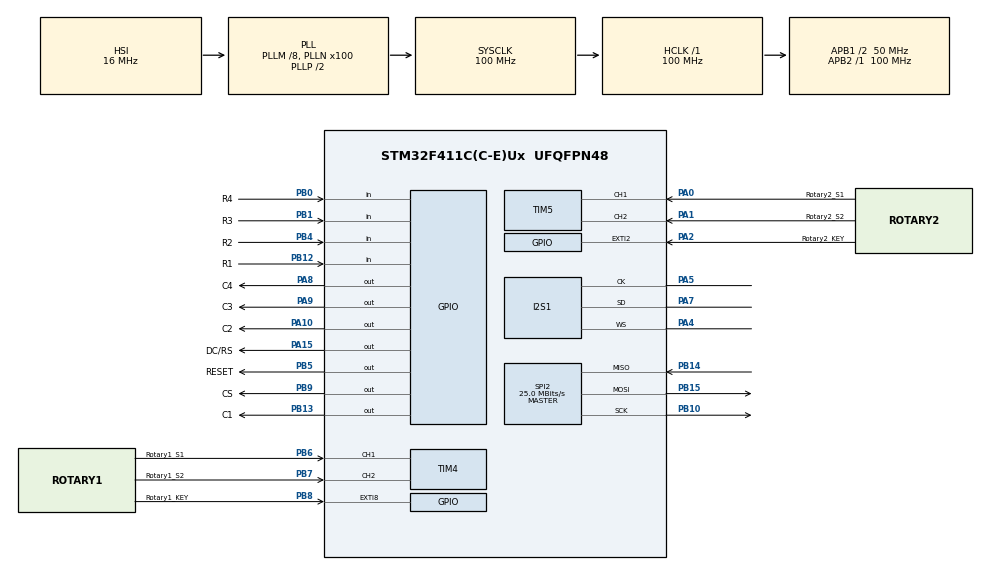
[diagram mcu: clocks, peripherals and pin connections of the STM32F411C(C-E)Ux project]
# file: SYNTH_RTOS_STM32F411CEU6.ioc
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Dma.Request0=SPI1_TX
Dma.Request1=SPI2_TX
Dma.Request2=SPI2_RX
Dma.SPI1_TX.0.Direction=DMA_MEMORY_TO_PERIPH
Dma.SPI1_TX.0.FIFOMode=DMA_FIFOMODE_DISABLE
Dma.SPI1_TX.0.Instance=DMA2_Stream2
Dma.SPI1_TX.0.MemDataAlignment=DMA_MDATAALIGN_HALFWORD
Dma.SPI1_TX.0.MemInc=DMA_MINC_ENABLE
Dma.SPI1_TX.0.Mode=DMA_CIRCULAR
Dma.SPI1_TX.0.PeriphDataAlignment=DMA_PDATAALIGN_HALFWORD
Dma.SPI1_TX.0.PeriphInc=DMA_PINC_DISABLE
Dma.SPI1_TX.0.Priority=DMA_PRIORITY_LOW
Dma.SPI2_RX.2.Direction=DMA_PERIPH_TO_MEMORY
Dma.SPI2_RX.2.FIFOMode=DMA_FIFOMODE_DISABLE
Dma.SPI2_RX.2.Instance=DMA1_Stream3
Dma.SPI2_RX.2.MemDataAlignment=DMA_MDATAALIGN_BYTE
Dma.SPI2_RX.2.MemInc=DMA_MINC_ENABLE
Dma.SPI2_RX.2.Mode=DMA_NORMAL
Dma.SPI2_RX.2.PeriphDataAlignment=DMA_PDATAALIGN_BYTE
Dma.SPI2_RX.2.PeriphInc=DMA_PINC_DISABLE
Dma.SPI2_RX.2.Priority=DMA_PRIORITY_LOW
Dma.SPI2_TX.1.Direction=DMA_MEMORY_TO_PERIPH
Dma.SPI2_TX.1.FIFOMode=DMA_FIFOMODE_DISABLE
Dma.SPI2_TX.1.Instance=DMA1_Stream4
Dma.SPI2_TX.1.MemDataAlignment=DMA_MDATAALIGN_BYTE
Dma.SPI2_TX.1.MemInc=DMA_MINC_ENABLE
Dma.SPI2_TX.1.Mode=DMA_NORMAL
Dma.SPI2_TX.1.PeriphDataAlignment=DMA_PDATAALIGN_BYTE
Dma.SPI2_TX.1.PeriphInc=DMA_PINC_DISABLE
Dma.SPI2_TX.1.Priority=DMA_PRIORITY_LOW
FREERTOS.Tasks01=defaultTask,24,128,StartDefaultTask,Default,NULL,Dynamic,NULL,NULL
FREERTOS.configENABLE_FPU=1
FREERTOS.configUSE_NEWLIB_REENTRANT=1
I2S1.AudioFreq=I2S_AUDIOFREQ_44K
I2S1.ErrorAudioFreq=0.26 %
I2S1.FullDuplexMode=I2S_FULLDUPLEXMODE_DISABLE
I2S1.Instance=SPI$Index
I2S1.RealAudioFreq=44.117 KHz
I2S1.VirtualMode=I2S_MODE_MASTER
Mcu.Family=STM32F4
Mcu.Name=STM32F411C(C-E)Ux
Mcu.Package=UFQFPN48
NVIC.DMA1_Stream3_IRQn=true\:5\:0\:false\:false\:true\:true\:false\:true\:true
NVIC.DMA1_Stream4_IRQn=true\:5\:0\:false\:false\:true\:true\:false\:true\:true
NVIC.DMA2_Stream2_IRQn=true\:5\:0\:false\:false\:true\:true\:false\:true\:true
NVIC.EXTI2_IRQn=true\:5\:0\:false\:false\:true\:true\:true\:true\:true
NVIC.EXTI9_5_IRQn=true\:5\:0\:false\:false\:true\:true\:true\:true\:true
NVIC.PriorityGroup=NVIC_PRIORITYGROUP_4
NVIC.SPI1_IRQn=true\:5\:0\:false\:false\:true\:true\:true\:true\:true
NVIC.TIM1_UP_TIM10_IRQn=true\:15\:0\:false\:false\:true\:false\:false\:true\:true
NVIC.TimeBase=TIM1_UP_TIM10_IRQn
NVIC.TimeBaseIP=TIM1
PA0-WKUP.GPIO_Label=Rotary2_S1
PA0-WKUP.Signal=S_TIM5_CH1
PA1.GPIO_Label=Rotary2_S2
PA1.Signal=S_TIM5_CH2
PA10.GPIO_Label=C2
PA10.GPIO_ModeDefaultOutputPP=GPIO_MODE_OUTPUT_OD
PA10.GPIO_PuPd=GPIO_NOPULL
PA10.PinState=GPIO_PIN_SET
PA10.Signal=GPIO_Output
PA13.Mode=Serial_Wire
PA13.Signal=SYS_JTMS-SWDIO
PA14.Mode=Serial_Wire
PA14.Signal=SYS_JTCK-SWCLK
PA15.GPIO_Label=DC/RS
PA15.Signal=GPIO_Output
PA2.GPIO_Label=Rotary2_KEY
PA2.Signal=GPXTI2
PA4.Mode=Half_Duplex_Master
PA4.Signal=I2S1_WS
PA5.Mode=Half_Duplex_Master
PA5.Signal=I2S1_CK
PA7.Mode=Half_Duplex_Master
PA7.Signal=I2S1_SD
PA8.GPIO_Label=C4
PA8.GPIO_ModeDefaultOutputPP=GPIO_MODE_OUTPUT_OD
PA8.GPIO_PuPd=GPIO_NOPULL
PA8.PinState=GPIO_PIN_SET
PA8.Signal=GPIO_Output
PA9.GPIO_Label=C3
PA9.GPIO_ModeDefaultOutputPP=GPIO_MODE_OUTPUT_OD
PA9.GPIO_PuPd=GPIO_NOPULL
PA9.PinState=GPIO_PIN_SET
PA9.Signal=GPIO_Output
PB0.GPIO_Label=R4
PB0.GPIO_PuPd=GPIO_PULLUP
PB0.Signal=GPIO_Input
PB1.GPIO_Label=R3
PB1.GPIO_PuPd=GPIO_PULLUP
PB1.Signal=GPIO_Input
PB10.Mode=Full_Duplex_Master
PB10.Signal=SPI2_SCK
PB12.GPIO_Label=R1
PB12.GPIO_PuPd=GPIO_PULLUP
PB12.Signal=GPIO_Input
PB13.GPIO_Label=C1
PB13.GPIO_ModeDefaultOutputPP=GPIO_MODE_OUTPUT_OD
PB13.GPIO_PuPd=GPIO_NOPULL
PB13.PinState=GPIO_PIN_SET
PB13.Signal=GPIO_Output
PB14.Mode=Full_Duplex_Master
PB14.Signal=SPI2_MISO
PB15.Mode=Full_Duplex_Master
PB15.Signal=SPI2_MOSI
PB3.Signal=SYS_JTDO-SWO
PB4.GPIO_Label=R2
PB4.GPIO_PuPd=GPIO_PULLUP
PB4.Signal=GPIO_Input
PB5.GPIO_Label=RESET
PB5.Signal=GPIO_Output
PB6.GPIO_Label=Rotary1_S1
PB6.Signal=S_TIM4_CH1
PB7.GPIO_Label=Rotary1_S2
PB7.Signal=S_TIM4_CH2
PB8.GPIO_Label=Rotary1_KEY
PB8.Signal=GPXTI8
PB9.GPIO_Label=CS
PB9.Signal=GPIO_Output
PC14-OSC32_IN.Mode=LSE-External-Oscillator
PC14-OSC32_IN.Signal=RCC_OSC32_IN
PC15-OSC32_OUT.Mode=LSE-External-Oscillator
PC15-OSC32_OUT.Signal=RCC_OSC32_OUT
PH0\ -\ OSC_IN.Mode=HSE-External-Oscillator
PH0\ -\ OSC_IN.Signal=RCC_OSC_IN
PH1\ -\ OSC_OUT.Mode=HSE-External-Oscillator
PH1\ -\ OSC_OUT.Signal=RCC_OSC_OUT
ProjectManager.HeapSize=0x200
ProjectManager.StackSize=0x400
ProjectManager.TargetToolchain=STM32CubeIDE
RCC.48MHZClocksFreq_Value=50000000
RCC.AHBFreq_Value=100000000
RCC.APB1CLKDivider=RCC_HCLK_DIV2
RCC.APB1Freq_Value=50000000
RCC.APB1TimFreq_Value=100000000
RCC.APB2Freq_Value=100000000
RCC.APB2TimFreq_Value=100000000
RCC.CortexFreq_Value=100000000
RCC.HCLKFreq_Value=100000000
RCC.HSE_VALUE=25000000
RCC.HSI_VALUE=16000000
RCC.PLLM=8
RCC.PLLN=100
RCC.SYSCLKFreq_VALUE=100000000
RCC.SYSCLKSource=RCC_SYSCLKSOURCE_PLLCLK
RCC.VCOOutputFreq_Value=200000000
SH.S_TIM4_CH1.0=TIM4_CH1,Encoder_Interface
SH.S_TIM4_CH2.0=TIM4_CH2,Encoder_Interface
SH.S_TIM5_CH1.0=TIM5_CH1,Encoder_Interface
SH.S_TIM5_CH2.0=TIM5_CH2,Encoder_Interface
SPI2.BaudRatePrescaler=SPI_BAUDRATEPRESCALER_2
SPI2.CalculateBaudRate=25.0 MBits/s
SPI2.Direction=SPI_DIRECTION_2LINES
SPI2.Mode=SPI_MODE_MASTER
SPI2.VirtualType=VM_MASTER
STMicroelectronics.X-CUBE-ALGOBUILD.1.4.0.LibraryCcDSPOoLibraryJjDSPOoLibrary=true
TIM4.IC1Filter=10
TIM5.IC1Filter=10
VP_FREERTOS_VS_CMSIS_V2.Mode=CMSIS_V2
VP_STMicroelectronics.X-CUBE-ALGOBUILD_VS_DSPOoLibraryJjLibrary_1.4.0_1.4.0.Mode=DSPOoLibraryJjLibrary
VP_SYS_VS_tim1.Mode=TIM1
board=custom

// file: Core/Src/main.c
/* USER CODE BEGIN Header */
/**
 ******************************************************************************
 * @file           : main.c
 * @brief          : Main program body
 ******************************************************************************
 * @attention
 *
 * Copyright (c) 2026 STMicroelectronics.
 * All rights reserved.
 *
 * This software is licensed under terms that can be found in the LICENSE file
 * in the root directory of this software component.
 * If no LICENSE file comes with this software, it is provided AS-IS.
 *
 ******************************************************************************
 */
/* USER CODE END Header */
#include "main.h"
#include "cmsis_os.h"

/* USER CODE BEGIN Includes */
#include "user_rtos.h"
#include "ui.h"
#include <stdio.h>
/* USER CODE END Includes */

I2S_HandleTypeDef hi2s1;
DMA_HandleTypeDef hdma_spi1_tx;

SPI_HandleTypeDef hspi2;
DMA_HandleTypeDef hdma_spi2_tx;
DMA_HandleTypeDef hdma_spi2_rx;

TIM_HandleTypeDef htim4;
TIM_HandleTypeDef htim5;

/* Definitions for defaultTask */
osThreadId_t defaultTaskHandle;
const osThreadAttr_t defaultTask_attributes = {
  .name = "defaultTask",
  .stack_size = 128 * 4,
  .priority = (osPriority_t) osPriorityNormal,
};

void SystemClock_Config(void);
static void MX_GPIO_Init(void);
static void MX_DMA_Init(void);
static void MX_I2S1_Init(void);
static void MX_SPI2_Init(void);
static void MX_TIM4_Init(void);
static void MX_TIM5_Init(void);
void StartDefaultTask(void *argument);

/* USER CODE BEGIN PFP */
int _write(int file, char *ptr, int len) {
	for (int i = 0; i < len; i++) {
		ITM_SendChar(*ptr++);
	}
	return len;
}
/* USER CODE END PFP */

int main(void)
{

  /* MCU Configuration--------------------------------------------------------*/

  /* Reset of all peripherals, Initializes the Flash interface and the Systick. */
  HAL_Init();

  /* Configure the system clock */
  SystemClock_Config();

  /* Initialize all configured peripherals */
  MX_GPIO_Init();
  MX_DMA_Init();
  MX_I2S1_Init();
  MX_SPI2_Init();
  MX_TIM4_Init();
  MX_TIM5_Init();
  /* USER CODE BEGIN 2 */
  HAL_TIM_Encoder_Start(&htim4, TIM_CHANNEL_ALL);
  HAL_TIM_Encoder_Start(&htim5, TIM_CHANNEL_ALL);

  display_init();
  /* USER CODE END 2 */

  /* Init scheduler */
  osKernelInitialize();

  /* Create the thread(s) */
  /* creation of defaultTask */
  defaultTaskHandle = osThreadNew(StartDefaultTask, NULL, &defaultTask_attributes);

  /* USER CODE BEGIN RTOS_THREADS */
	/* add threads, ... */
	UI_Init();
	InitTasks();
	KeypadTasks_Init();
	RotaryTasks_Init();
  /* USER CODE END RTOS_THREADS */

  /* Start scheduler */
  osKernelStart();

  /* We should never get here as control is now taken by the scheduler */

  /* Infinite loop */
	while (1) {

	}
}

void SystemClock_Config(void)
{
  RCC_OscInitTypeDef RCC_OscInitStruct = {0};
  RCC_ClkInitTypeDef RCC_ClkInitStruct = {0};

  /** Configure the main internal regulator output voltage
  */
  __HAL_RCC_PWR_CLK_ENABLE();
  __HAL_PWR_VOLTAGESCALING_CONFIG(PWR_REGULATOR_VOLTAGE_SCALE1);

  /** Initializes the RCC Oscillators according to the specified parameters
  * in the RCC_OscInitTypeDef structure.
  */
  RCC_OscInitStruct.OscillatorType = RCC_OSCILLATORTYPE_HSI;
  RCC_OscInitStruct.HSIState = RCC_HSI_ON;
  RCC_OscInitStruct.HSICalibrationValue = RCC_HSICALIBRATION_DEFAULT;
  RCC_OscInitStruct.PLL.PLLState = RCC_PLL_ON;
  RCC_OscInitStruct.PLL.PLLSource = RCC_PLLSOURCE_HSI;
  RCC_OscInitStruct.PLL.PLLM = 8;
  RCC_OscInitStruct.PLL.PLLN = 100;
  RCC_OscInitStruct.PLL.PLLP = RCC_PLLP_DIV2;
  RCC_OscInitStruct.PLL.PLLQ = 4;
  if (HAL_RCC_OscConfig(&RCC_OscInitStruct) != HAL_OK)
  {
    Error_Handler();
  }

  /** Initializes the CPU, AHB and APB buses clocks
  */
  RCC_ClkInitStruct.ClockType = RCC_CLOCKTYPE_HCLK|RCC_CLOCKTYPE_SYSCLK
                              |RCC_CLOCKTYPE_PCLK1|RCC_CLOCKTYPE_PCLK2;
  RCC_ClkInitStruct.SYSCLKSource = RCC_SYSCLKSOURCE_PLLCLK;
  RCC_ClkInitStruct.AHBCLKDivider = RCC_SYSCLK_DIV1;
  RCC_ClkInitStruct.APB1CLKDivider = RCC_HCLK_DIV2;
  RCC_ClkInitStruct.APB2CLKDivider = RCC_HCLK_DIV1;

  if (HAL_RCC_ClockConfig(&RCC_ClkInitStruct, FLASH_LATENCY_3) != HAL_OK)
  {
    Error_Handler();
  }
}

static void MX_I2S1_Init(void)
{

  hi2s1.Instance = SPI1;
  hi2s1.Init.Mode = I2S_MODE_MASTER_TX;
  hi2s1.Init.Standard = I2S_STANDARD_PHILIPS;
  hi2s1.Init.DataFormat = I2S_DATAFORMAT_16B;
  hi2s1.Init.MCLKOutput = I2S_MCLKOUTPUT_DISABLE;
  hi2s1.Init.AudioFreq = I2S_AUDIOFREQ_44K;
  hi2s1.Init.CPOL = I2S_CPOL_LOW;
  hi2s1.Init.ClockSource = I2S_CLOCK_PLL;
  hi2s1.Init.FullDuplexMode = I2S_FULLDUPLEXMODE_DISABLE;
  if (HAL_I2S_Init(&hi2s1) != HAL_OK)
  {
    Error_Handler();
  }

}

static void MX_SPI2_Init(void)
{

  /* SPI2 parameter configuration*/
  hspi2.Instance = SPI2;
  hspi2.Init.Mode = SPI_MODE_MASTER;
  hspi2.Init.Direction = SPI_DIRECTION_2LINES;
  hspi2.Init.DataSize = SPI_DATASIZE_8BIT;
  hspi2.Init.CLKPolarity = SPI_POLARITY_LOW;
  hspi2.Init.CLKPhase = SPI_PHASE_1EDGE;
  hspi2.Init.NSS = SPI_NSS_SOFT;
  hspi2.Init.BaudRatePrescaler = SPI_BAUDRATEPRESCALER_2;
  hspi2.Init.FirstBit = SPI_FIRSTBIT_MSB;
  hspi2.Init.TIMode = SPI_TIMODE_DISABLE;
  hspi2.Init.CRCCalculation = SPI_CRCCALCULATION_DISABLE;
  hspi2.Init.CRCPolynomial = 10;
  if (HAL_SPI_Init(&hspi2) != HAL_OK)
  {
    Error_Handler();
  }

}

static void MX_TIM4_Init(void)
{

  TIM_Encoder_InitTypeDef sConfig = {0};
  TIM_MasterConfigTypeDef sMasterConfig = {0};

  htim4.Instance = TIM4;
  htim4.Init.Prescaler = 0;
  htim4.Init.CounterMode = TIM_COUNTERMODE_UP;
  htim4.Init.Period = 65535;
  htim4.Init.ClockDivision = TIM_CLOCKDIVISION_DIV1;
  htim4.Init.AutoReloadPreload = TIM_AUTORELOAD_PRELOAD_DISABLE;
  sConfig.EncoderMode = TIM_ENCODERMODE_TI1;
  sConfig.IC1Polarity = TIM_ICPOLARITY_RISING;
  sConfig.IC1Selection = TIM_ICSELECTION_DIRECTTI;
  sConfig.IC1Prescaler = TIM_ICPSC_DIV1;
  sConfig.IC1Filter = 10;
  sConfig.IC2Polarity = TIM_ICPOLARITY_RISING;
  sConfig.IC2Selection = TIM_ICSELECTION_DIRECTTI;
  sConfig.IC2Prescaler = TIM_ICPSC_DIV1;
  sConfig.IC2Filter = 0;
  if (HAL_TIM_Encoder_Init(&htim4, &sConfig) != HAL_OK)
  {
    Error_Handler();
  }
  sMasterConfig.MasterOutputTrigger = TIM_TRGO_RESET;
  sMasterConfig.MasterSlaveMode = TIM_MASTERSLAVEMODE_DISABLE;
  if (HAL_TIMEx_MasterConfigSynchronization(&htim4, &sMasterConfig) != HAL_OK)
  {
    Error_Handler();
  }

}

static void MX_TIM5_Init(void)
{

  TIM_Encoder_InitTypeDef sConfig = {0};
  TIM_MasterConfigTypeDef sMasterConfig = {0};

  htim5.Instance = TIM5;
  htim5.Init.Prescaler = 0;
  htim5.Init.CounterMode = TIM_COUNTERMODE_UP;
  htim5.Init.Period = 4294967295;
  htim5.Init.ClockDivision = TIM_CLOCKDIVISION_DIV1;
  htim5.Init.AutoReloadPreload = TIM_AUTORELOAD_PRELOAD_DISABLE;
  sConfig.EncoderMode = TIM_ENCODERMODE_TI1;
  sConfig.IC1Polarity = TIM_ICPOLARITY_RISING;
  sConfig.IC1Selection = TIM_ICSELECTION_DIRECTTI;
  sConfig.IC1Prescaler = TIM_ICPSC_DIV1;
  sConfig.IC1Filter = 10;
  sConfig.IC2Polarity = TIM_ICPOLARITY_RISING;
  sConfig.IC2Selection = TIM_ICSELECTION_DIRECTTI;
  sConfig.IC2Prescaler = TIM_ICPSC_DIV1;
  sConfig.IC2Filter = 0;
  if (HAL_TIM_Encoder_Init(&htim5, &sConfig) != HAL_OK)
  {
    Error_Handler();
  }
  sMasterConfig.MasterOutputTrigger = TIM_TRGO_RESET;
  sMasterConfig.MasterSlaveMode = TIM_MASTERSLAVEMODE_DISABLE;
  if (HAL_TIMEx_MasterConfigSynchronization(&htim5, &sMasterConfig) != HAL_OK)
  {
    Error_Handler();
  }

}

static void MX_DMA_Init(void)
{

  /* DMA controller clock enable */
  __HAL_RCC_DMA2_CLK_ENABLE();
  __HAL_RCC_DMA1_CLK_ENABLE();

  /* DMA interrupt init */
  /* DMA1_Stream3_IRQn interrupt configuration */
  HAL_NVIC_SetPriority(DMA1_Stream3_IRQn, 5, 0);
  HAL_NVIC_EnableIRQ(DMA1_Stream3_IRQn);
  /* DMA1_Stream4_IRQn interrupt configuration */
  HAL_NVIC_SetPriority(DMA1_Stream4_IRQn, 5, 0);
  HAL_NVIC_EnableIRQ(DMA1_Stream4_IRQn);
  /* DMA2_Stream2_IRQn interrupt configuration */
  HAL_NVIC_SetPriority(DMA2_Stream2_IRQn, 5, 0);
  HAL_NVIC_EnableIRQ(DMA2_Stream2_IRQn);

}

static void MX_GPIO_Init(void)
{
  GPIO_InitTypeDef GPIO_InitStruct = {0};

  /* GPIO Ports Clock Enable */
  __HAL_RCC_GPIOC_CLK_ENABLE();
  __HAL_RCC_GPIOH_CLK_ENABLE();
  __HAL_RCC_GPIOA_CLK_ENABLE();
  __HAL_RCC_GPIOB_CLK_ENABLE();

  /*Configure GPIO pin Output Level */
  HAL_GPIO_WritePin(C1_GPIO_Port, C1_Pin, GPIO_PIN_SET);

  /*Configure GPIO pin Output Level */
  HAL_GPIO_WritePin(GPIOA, C4_Pin|C3_Pin|C2_Pin, GPIO_PIN_SET);

  /*Configure GPIO pin Output Level */
  HAL_GPIO_WritePin(DC_RS_GPIO_Port, DC_RS_Pin, GPIO_PIN_RESET);

  /*Configure GPIO pin Output Level */
  HAL_GPIO_WritePin(GPIOB, RESET_Pin|CS_Pin, GPIO_PIN_RESET);

  /*Configure GPIO pin : Rotary2_KEY_Pin */
  GPIO_InitStruct.Pin = Rotary2_KEY_Pin;
  GPIO_InitStruct.Mode = GPIO_MODE_IT_RISING;
  GPIO_InitStruct.Pull = GPIO_NOPULL;
  HAL_GPIO_Init(Rotary2_KEY_GPIO_Port, &GPIO_InitStruct);

  /*Configure GPIO pins : R4_Pin R3_Pin R1_Pin R2_Pin */
  GPIO_InitStruct.Pin = R4_Pin|R3_Pin|R1_Pin|R2_Pin;
  GPIO_InitStruct.Mode = GPIO_MODE_INPUT;
  GPIO_InitStruct.Pull = GPIO_PULLUP;
  HAL_GPIO_Init(GPIOB, &GPIO_InitStruct);

  /*Configure GPIO pin : C1_Pin */
  GPIO_InitStruct.Pin = C1_Pin;
  GPIO_InitStruct.Mode = GPIO_MODE_OUTPUT_OD;
  GPIO_InitStruct.Pull = GPIO_NOPULL;
  GPIO_InitStruct.Speed = GPIO_SPEED_FREQ_LOW;
  HAL_GPIO_Init(C1_GPIO_Port, &GPIO_InitStruct);

  /*Configure GPIO pins : C4_Pin C3_Pin C2_Pin */
  GPIO_InitStruct.Pin = C4_Pin|C3_Pin|C2_Pin;
  GPIO_InitStruct.Mode = GPIO_MODE_OUTPUT_OD;
  GPIO_InitStruct.Pull = GPIO_NOPULL;
  GPIO_InitStruct.Speed = GPIO_SPEED_FREQ_LOW;
  HAL_GPIO_Init(GPIOA, &GPIO_InitStruct);

  /*Configure GPIO pin : DC_RS_Pin */
  GPIO_InitStruct.Pin = DC_RS_Pin;
  GPIO_InitStruct.Mode = GPIO_MODE_OUTPUT_PP;
  GPIO_InitStruct.Pull = GPIO_NOPULL;
  GPIO_InitStruct.Speed = GPIO_SPEED_FREQ_LOW;
  HAL_GPIO_Init(DC_RS_GPIO_Port, &GPIO_InitStruct);

  /*Configure GPIO pins : RESET_Pin CS_Pin */
  GPIO_InitStruct.Pin = RESET_Pin|CS_Pin;
  GPIO_InitStruct.Mode = GPIO_MODE_OUTPUT_PP;
  GPIO_InitStruct.Pull = GPIO_NOPULL;
  GPIO_InitStruct.Speed = GPIO_SPEED_FREQ_LOW;
  HAL_GPIO_Init(GPIOB, &GPIO_InitStruct);

  /*Configure GPIO pin : Rotary1_KEY_Pin */
  GPIO_InitStruct.Pin = Rotary1_KEY_Pin;
  GPIO_InitStruct.Mode = GPIO_MODE_IT_RISING;
  GPIO_InitStruct.Pull = GPIO_NOPULL;
  HAL_GPIO_Init(Rotary1_KEY_GPIO_Port, &GPIO_InitStruct);

  /* EXTI interrupt init*/
  HAL_NVIC_SetPriority(EXTI2_IRQn, 5, 0);
  HAL_NVIC_EnableIRQ(EXTI2_IRQn);

  HAL_NVIC_SetPriority(EXTI9_5_IRQn, 5, 0);
  HAL_NVIC_EnableIRQ(EXTI9_5_IRQn);

}

void StartDefaultTask(void *argument)
{
  /* USER CODE BEGIN 5 */

	/* Infinite loop */
	for (;;) {
//		printf("uart ok!\n");
		Test();
	}
  /* USER CODE END 5 */
}

void HAL_TIM_PeriodElapsedCallback(TIM_HandleTypeDef *htim)
{
  if (htim->Instance == TIM1)
  {
    HAL_IncTick();
  }
}

void Error_Handler(void)
{
	__disable_irq();
	while (1) {
	}
}
